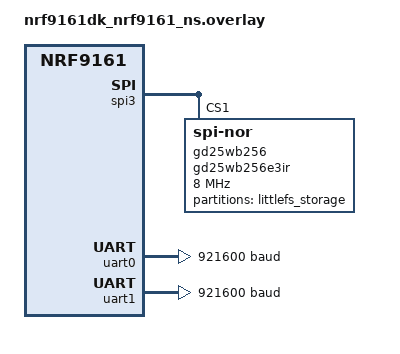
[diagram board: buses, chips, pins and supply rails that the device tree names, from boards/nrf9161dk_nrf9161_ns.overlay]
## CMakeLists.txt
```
#
# Copyright (c) 2020 Nordic Semiconductor
#
# SPDX-License-Identifier: LicenseRef-Nordic-5-Clause
#

cmake_minimum_required(VERSION 3.13.1)

find_package(Zephyr REQUIRED HINTS $ENV{ZEPHYR_BASE})

project(otdoa)

target_compile_options(app PRIVATE -flto -fdata-sections -ffunction-sections)
target_link_options(app PRIVATE --gc-sections)

# Prep the TLS certificate for including
zephyr_include_directories(${CMAKE_CURRENT_BINARY_DIR})
generate_inc_file_for_target(
  app
  cert/hellaphy.pem
  ${CMAKE_CURRENT_BINARY_DIR}/hellaphy.pem.inc
)

target_sources(app PRIVATE src/main.c)
target_sources(app PRIVATE src/otdoa_sample_app.c)
target_sources(app PRIVATE src/otdoa_gpio.c)

target_include_directories(app PRIVATE ./include)

target_link_libraries(app PUBLIC m)

# GCC 11 by default emits DWARF version 5 which cannot be parsed by
# pyelftools. Can be removed once pyelftools supports v5.
add_link_options(-gdwarf-4)
```

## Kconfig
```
#
# Copyright (c) 2020 Nordic Semiconductor ASA
#
# SPDX-License-Identifier: LicenseRef-Nordic-5-Clause
#

menu "OTDOA Sample Application config"

config PERIODIC_EST_INTERVAL
	int "Interval in minutes for periodic OTDOA estimates,  0 to disable."
	default 0

endmenu # OTDOA Sample Application

menu "Zephyr Kernel"
source "Kconfig.zephyr"
endmenu
```

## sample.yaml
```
sample:
  name: otdoa Sample
tests:
  sample.cellular.otdoa:
    sysbuild: true
    build_only: true
    integration_platforms:
      - nrf9151dk/nrf9151/ns
      - nrf9161dk/nrf9161/ns
      - thingy91x/nrf9151/ns
    platform_allow:
      - nrf9151dk/nrf9151/ns
      - nrf9161dk/nrf9161/ns
      - thingy91x/nrf9151/ns
    tags: ci_build sysbuild ci_samples_cellular
```

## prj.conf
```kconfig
CONFIG_NRF_MODEM_LIB=y

# Modem info
CONFIG_MODEM_INFO=y
CONFIG_MODEM_INFO_ADD_DATE_TIME=y

CONFIG_NETWORKING=y
CONFIG_NET_SOCKETS=y
CONFIG_NET_NATIVE=n
CONFIG_POSIX_API=y

# LTE link control (for OTDOA sample application)
CONFIG_LTE_LINK_CONTROL=y


CONFIG_MAIN_STACK_SIZE=2048
CONFIG_SHELL_STACK_SIZE=2048

CONFIG_HEAP_MEM_POOL_SIZE=2048

CONFIG_MODEM_KEY_MGMT=y

# Added after update to ncs/nrf folder in 10 May 2021 release from Nordic
CONFIG_FPU=y
CONFIG_FPU_SHARING=y

# floating point prints:
CONFIG_NEWLIB_LIBC_FLOAT_PRINTF=y
CONFIG_NEWLIB_LIBC_FLOAT_SCANF=y

# Serial Port
CONFIG_NRFX_UARTE0=y
CONFIG_NRFX_UARTE1=n
CONFIG_NRFX_UARTE2=n
CONFIG_NRFX_UARTE3=n

CONFIG_UART_INTERRUPT_DRIVEN=y
CONFIG_UART_LINE_CTRL=y
CONFIG_UART_0_NRF_TX_BUFFER_SIZE=256

# add for math libraries
CONFIG_NEWLIB_LIBC=y

# Add the Zephyr shell
CONFIG_PRINTK=y
CONFIG_SHELL=y
CONFIG_INIT_STACKS=y
CONFIG_THREAD_STACK_INFO=y
CONFIG_KERNEL_SHELL=y
CONFIG_THREAD_MONITOR=y
CONFIG_BOOT_BANNER=n
CONFIG_THREAD_NAME=y
CONFIG_DEVICE_SHELL=y
CONFIG_DATE_SHELL=y
CONFIG_THREAD_RUNTIME_STATS=y
CONFIG_SHELL_PROMPT_UART="otdoa:~$ "
CONFIG_AT_SHELL=y
CONFIG_FILE_SYSTEM_SHELL=y
# disable wildcards in the shell so commands like AT+CFUN? will not interpret the ? as a wildcard
CONFIG_SHELL_WILDCARD=n
# the default of 64 isn't enough for an EC key
CONFIG_SHELL_BACKEND_SERIAL_RX_RING_BUFFER_SIZE=128

#--------------------------------------------------
# for Nordic integration
# reduce SHMEM size to save memory.  Based on experimental values: CONFIG_NRF_MODEM_LIB_SHMEM_RX_SIZE=16384
CONFIG_NRF_MODEM_LIB_SHMEM_RX_SIZE=6144

# debugging
CONFIG_ASSERT=y
CONFIG_ASSERT_VERBOSE=y

CONFIG_RESET_ON_FATAL_ERROR=n
CONFIG_EXTRA_EXCEPTION_INFO=y
CONFIG_SYSTEM_WORKQUEUE_STACK_SIZE=2048


CONFIG_GPIO=y
CONFIG_SERIAL=y
CONFIG_ARM_MPU=y
CONFIG_ARM_TRUSTZONE_M=y
CONFIG_TRUSTED_EXECUTION_NONSECURE=y
CONFIG_HW_STACK_PROTECTION=y
CONFIG_CONSOLE=y
CONFIG_UART_CONSOLE=y

CONFIG_FLASH=y
CONFIG_FLASH_MAP=y
CONFIG_FLASH_PAGE_LAYOUT=y
CONFIG_FILE_SYSTEM=y
CONFIG_FILE_SYSTEM_LITTLEFS=y
CONFIG_PM_PARTITION_SIZE_LITTLEFS=0x10000

# ncs v2.8.0 experiment
CONFIG_SPI=y
CONFIG_SPI_NOR=y
CONFIG_SPI_NOR_FLASH_LAYOUT_PAGE_SIZE=4096

# Logging
CONFIG_LOG=y
CONFIG_LOG_MODE_DEFERRED=y
CONFIG_LOG_RUNTIME_FILTERING=y
CONFIG_LOG_BUFFER_SIZE=8192
CONFIG_LOG_PRINTK=y
# 64b timestamps to allow longer uptime logs without wrapping
CONFIG_LOG_TIMESTAMP_64BIT=y

# Log thread configuration
CONFIG_LOG_PROCESS_THREAD=y
CONFIG_LOG_PROCESS_THREAD_SLEEP_MS=100
CONFIG_LOG_PROCESS_THREAD_STACK_SIZE=1536

# Disable logging of FS errors, since the FS library
# logs an error if a file does not exist.
CONFIG_FS_LOG_LEVEL_OFF=y

# turn off VT100 colors on the console
CONFIG_SHELL_VT100_COLORS=n


# crypto / security
# Enable nordic security backend and PSA APIs
CONFIG_NRF_SECURITY=y
CONFIG_MBEDTLS_PSA_CRYPTO_C=y

# Enable TF-M for SDK v2.2.0 support with parition sizes
# set to smallest possible
CONFIG_BUILD_WITH_TFM=y
CONFIG_TFM_PROFILE_TYPE_SMALL=y
CONFIG_PM_PARTITION_SIZE_TFM=0x10000
CONFIG_PM_PARTITION_SIZE_TFM_SRAM=0x08000

# disable some TFM partitions so save memory.
# Reduces to 64KB FLASH / 32KB RAM
CONFIG_TFM_PARTITION_INITIAL_ATTESTATION=n
CONFIG_TFM_PARTITION_PLATFORM=y
CONFIG_TFM_PARTITION_PROTECTED_STORAGE=n
CONFIG_TFM_PARTITION_INTERNAL_TRUSTED_STORAGE=y

CONFIG_PSA_WANT_ALG_ECDSA=y
CONFIG_PSA_WANT_KEY_TYPE_ECC_KEY_PAIR_GENERATE=y
CONFIG_PSA_WANT_KEY_TYPE_ECC_KEY_PAIR_IMPORT=y
CONFIG_PSA_WANT_KEY_TYPE_ECC_KEY_PAIR_EXPORT=y
CONFIG_PSA_WANT_ALG_SHA_256=y

CONFIG_PSA_WANT_ALG_ECDH=y
CONFIG_PSA_WANT_ECC_SECP_R1_256=y
CONFIG_PSA_WANT_KEY_TYPE_AES=y
CONFIG_PSA_WANT_ALG_CTR=y

# disable TFM usage of UART1 since it may interfere with icapture.
# for TFM debug, re-enable this option.
CONFIG_TFM_LOG_LEVEL_SILENCE=y

# For key generation
CONFIG_PSA_WANT_GENERATE_RANDOM=y
CONFIG_BASE64=y

# for buttons & LEDs
CONFIG_DK_LIBRARY=y

# Fix for ext. FLASH per Sigurd suggestion
# at https://devzone.nordicsemi.com/f/nordic-q-a/118765/little-fs-on-external-flash-with-nrf9161dk-and-ncs-2-8-0
CONFIG_PM_OVERRIDE_EXTERNAL_DRIVER_CHECK=y

# Enable automatic request of PSM mode on attach.
# this is recommended to reduce power consumption during idle times.
CONFIG_LTE_LC_PSM_MODULE=y
CONFIG_LTE_PSM_REQ=y

# OTDOA Library
CONFIG_OTDOA_AL_LIB=y
CONFIG_OTDOA_LIB_TYPE_PROD=y
CONFIG_OTDOA_SHELL_COMMANDS=y

# OTDOA Sample Application
CONFIG_PERIODIC_EST_INTERVAL=0
```

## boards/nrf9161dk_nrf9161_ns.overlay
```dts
/*  This overlay file supports v0.9.X of the nrf9161dk board
 *  and hopefully beyond.  V0.9.X uses the gd25wb256 SPI FLASH
 *  instead of the gd25lb256 used on v0.7.X
 *
 *  Notes:
 *  1. 9161DK v0.9.x uses gd25wb256 with jedec-id = [c8 65 19]
 *  2. It should be possible to remove the &spi3 below
 *     when Zephyr is upgraded to v.3.x (nrf SDK v2.5.x).
 */

&spi3 {

	gd25wb256: gd25wb256e3ir@1 {
		compatible = "jedec,spi-nor";
		status = "disabled";
		reg = <1>;
		spi-max-frequency = <8000000>;
		size = <268435456>;
		has-dpd;
		t-enter-dpd = <3000>;
		t-exit-dpd = <40000>;
		sfdp-bfp = [
			e5 20 f3 ff  ff ff ff 0f  44 eb 08 6b  08 3b 42 bb
			ee ff ff ff  ff ff 00 ff  ff ff 00 ff  0c 20 0f 52
			10 d8 00 ff  44 7a c9 fe  83 67 26 62  ec 82 18 44
			7a 75 7a 75  04 c4 d5 5c  00 06 74 00  08 50 00 01
			];
		jedec-id = [c8 65 19];
	};
};


&gd25wb256 {
	status = "okay";
	partitions {
		compatible = "fixed-partitions";
		#address-cells = <1>;
		#size-cells = <1>;

		lfs_part1: partition@0 {
			label = "littlefs_storage";
			reg = <0x00000000 0x1e84800>;
		};
	};
};

/* Add uart aliases for v2.2.0 of nRF SDK  */
/ {
	aliases {
		uart0 = &uart0;
		uart1 = &uart1;
		spi-flash0 = &gd25wb256;
	};
	chosen {
		nordic,pm-ext-flash = &gd25wb256;
	};
};

&uart0 {
	status = "okay";
	current-speed = <921600>;
};

&uart1 {
	status = "okay";
	current-speed = <921600>;
	hw-flow-control;
};
```

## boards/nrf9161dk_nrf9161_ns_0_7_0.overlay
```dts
/*  This overlay file supports v0.97X of the nrf9161dk board
 *  V0.7.X uses the gd25lb256 SPI FLASH
 *  instead of the gd25wb256 used on v0.9.X
 *
 *  Notes:
 *  1. 9161DK v0.7.X uses gd25lb256 with jedec-id = [c8 67 19]
 *  2. It should be possible to remove the &spi3 below
 *     when Zephyr is upgraded to v.3.x (nrf SDK v2.5.x).
 */

/* Add for 9161DK v0.7.x */
&spi3 {
	gd25lb256: gd25lb256e3ir@1 {
		compatible = "jedec,spi-nor";
		status = "disabled";
		reg = <1>;
		spi-max-frequency = <60000000>;
		jedec-id = [c8 67 19];
		sfdp-bfp = [
			e5 20 ea ff  ff ff ff 0f  44 eb 08 6b  00 3b 00 bb
			fe ff ff ff  ff ff 00 ff  ff ff 44 eb  0c 20 0f 52
			10 d8 00 ff  d5 31 b1 fe  82 e4 14 4c  ec 60 06 33
			7a 75 7a 75  04 bd d5 5c  29 06 74 00  08 50 00 01
		];
		size = <268435456>;
		has-dpd;
		t-enter-dpd = <3000>;
		t-exit-dpd = <30000>;
	};
};

/* Explicitly disable serial FLASH from nrf9161dk_nrf9161.overlay file */
&gd25wb256 {
	status = "disabled";
};

&gd25lb256 {
	status = "okay";
	partitions {
		compatible = "fixed-partitions";
		#address-cells = <1>;
		#size-cells = <1>;

		external_flash_storage: partition@0 {
			label = "external-storage";
			reg = <0x00000000 0x1e84800>;
		};
	};
};

/* Add uart aliases for v2.2.0 of nRF SDK  */
/ {
	aliases {
		uart0 = &uart0;
		uart1 = &uart1;
	};
	chosen {
		nordic,pm-ext-flash = &gd25lb256;
	};
};

&uart0 {
	status = "okay";
	current-speed = <921600>;
};

&uart1 {
	status = "okay";
	current-speed = <921600>;
	hw-flow-control;
};
```

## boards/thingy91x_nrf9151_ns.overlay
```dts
/*
 * Thingy91X board DTS Overlay
 */

/* set console UART to 921600 baud */
&uart0 {
	status = "okay";
	current-speed = <921600>;
};
```

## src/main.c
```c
/*
 * Copyright (c) 2025 PHY Wireless, Inc.
 *
 * SPDX-License-Identifier: LicenseRef-PHYW
 */

#include <zephyr/kernel.h>
#include <zephyr/logging/log.h>
#include <otdoa_al/otdoa_little_fs.h>

#include "otdoa_gpio.h"
#include "otdoa_sample_app.h"

LOG_MODULE_REGISTER(otdoa_sample, LOG_LEVEL_DBG);

int main(void)
{
	LOG_INF("OTDOA Sample Application started");

	LOG_DBG("Mounting littleFS");
	if (0 == mount_little_fs()) {
#ifdef FS_TESTS
		test_little_fs();
#endif
	}

	init_button();
	set_blink_mode(MED);

	return otdoa_sample_main();
}
```

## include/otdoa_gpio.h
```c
/*
 * Copyright (c) 2025 PHY Wireless, Inc.
 *
 * SPDX-License-Identifier: LicenseRef-PHYW
 */

#ifndef OTDOA_GPIO_H__
#define OTDOA_GPIO_H__
/* blink speeds */
typedef enum {
	NONE,
	SLOW,
	MED,
	FAST,
	FLASH,
} BLINK_SPEED;

int init_led(void);
int init_button(void);
int set_led(int state);
int toggle_led(void);
void set_blink_mode(BLINK_SPEED speed);
void set_blink_sleep(void);
void set_blink_prs(void);
void set_blink_download(void);
void set_blink_error(void);

#endif /* OTDOA_GPIO_H__ */
```

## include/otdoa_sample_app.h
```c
/*
 * Copyright (c) 2025 PHY Wireless, Inc.
 *
 * SPDX-License-Identifier: LicenseRef-PHYW
 */

 #include <stdint.h>

int otdoa_sample_main(void);

/* Default timeout for OTDOA in milliseconds */
#define OTDOA_SAMPLE_DEFAULT_TIMEOUT_MS (2 * 60 * 1000)

/* API functions called from the shell */
void otdoa_sample_start(uint32_t session_length, uint32_t capture_flags, uint32_t timeout_msec);
void otdoa_sample_cancel(void);
void otdoa_sample_ubsa_dl_test(uint32_t ecgi, uint32_t dlearfcn,
	uint32_t radius, uint32_t max_cells, uint16_t mcc, uint16_t mnc);
```

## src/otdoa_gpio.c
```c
/*
 * Copyright (c) 2025 PHY Wireless, Inc.
 *
 * SPDX-License-Identifier: LicenseRef-PHYW
 */

#include <zephyr/kernel.h>
#include <zephyr/logging/log.h>
#include <dk_buttons_and_leds.h>

#include "otdoa_sample_app.h"
#include "otdoa_gpio.h"

#define OTDOA_LED    DK_LED1 /* Red LED on thingy91X, green LED1 on 9161dk */
#define OTDOA_BUTTON DK_BTN1

static bool led_is_init;
static volatile bool led_state;
static volatile BLINK_SPEED led_mode = NONE;
struct k_timer led_timer;

/* forward reference */
static void button_cb(uint32_t button_state, uint32_t has_changed);

LOG_MODULE_DECLARE(otdoa_sample, LOG_LEVEL_INF);

static void led_timer_cb(struct k_timer *timer)
{
	toggle_led();

	if (led_mode == FLASH) {
		/* need to manually trigger the next shot, due to different timing */
		k_timer_start(timer, led_state ? K_MSEC(100) : K_MSEC(5000), K_NO_WAIT);
	}
}

int init_led(void)
{

	if (led_is_init) {
		return 0;
	}

	/* Use library button & LED functions */
	dk_leds_init();

	k_timer_init(&led_timer, led_timer_cb, NULL);

	led_is_init = true;

	return 0;
}

int set_led(int state)
{
	led_state = state;
	return dk_set_led(OTDOA_LED, led_state);
}

int toggle_led(void)
{
	led_state = !led_state;
	return dk_set_led(OTDOA_LED, led_state);
}

void set_blink_mode(BLINK_SPEED speed)
{
	if (!led_is_init) {
		if (init_led()) {
			LOG_ERR("Failed to initialize LED!");
			return;
		}
	}
	led_mode = speed;
	LOG_DBG("Setting blink mode to %d", speed);
	switch (speed) {
	case SLOW:
		k_timer_start(&led_timer, K_MSEC(2000), K_MSEC(2000));
		break;
	case FLASH:
		/* this is a oneshot timer because the delay needs to change */
		k_timer_start(&led_timer, led_state ? K_MSEC(100) : K_MSEC(5000), K_NO_WAIT);
		break;
	case FAST:
		k_timer_start(&led_timer, K_MSEC(250), K_MSEC(250));
		break;
	case MED:
		k_timer_start(&led_timer, K_MSEC(500), K_MSEC(500));
		break;
	case NONE:
		set_led(false);
		k_timer_stop(&led_timer);
		break;
	default:
		printk("Unknown LED blink mode %d\n", led_mode);
		break;
	}
}

void set_blink_sleep(void)
{
	set_blink_mode(FLASH);
}

void set_blink_prs(void)
{
	set_blink_mode(FAST);
}

void set_blink_download(void)
{
	set_blink_mode(MED);
}

void set_blink_error(void)
{
	set_blink_mode(SLOW);
}

/*
 *  Buttons
 */
static void button_cb(uint32_t button_state, uint32_t has_changed)
{
	uint32_t button_mask = BIT(OTDOA_BUTTON);

	if (has_changed & button_mask) {
		if (button_state & button_mask) {
			LOG_INF("Button high");
		} else {
			LOG_INF("Button low");
			/* start a test for 32 PRS occasions.  Timeout = 120 seconds */
			otdoa_sample_start(32, 0, OTDOA_SAMPLE_DEFAULT_TIMEOUT_MS);
		}
	}
}

int init_button(void)
{
	dk_buttons_init(button_cb);
	return 0;
}
```

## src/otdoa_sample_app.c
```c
/*
 * Copyright (c) 2025 PHY Wireless, Inc.
 *
 * SPDX-License-Identifier: LicenseRef-PHYW
 */

#include <string.h>
#include <zephyr/kernel.h>
#include <zephyr/logging/log.h>
#include <nrf_modem_at.h>
#include <modem/lte_lc.h>
#include <modem/nrf_modem_lib.h>
#include <otdoa_al/otdoa_api.h>
#include <otdoa_al/otdoa_otdoa2al_api.h>
#include "otdoa_gpio.h"
#include "otdoa_sample_app.h"

#define UBSA_FILE_PATH "/lfs/ubsa.csv"

LOG_MODULE_DECLARE(otdoa_sample, LOG_LEVEL_INF);

static K_SEM_DEFINE(lte_connected, 0, 1);

/* Timer for periodic position estimates */
struct k_timer pos_est_timer;
#define POS_EST_TIMER_DURATION K_MSEC(CONFIG_PERIODIC_EST_INTERVAL * 60 * 1000)

/* Flag to distinguish between DL requests initiated during an OTDOA
 * session, and those that are not part of a session (e.g. those for testing uBDA DL)
 */
static int dl_in_session;

static const char cert[] = {
#include "hellaphy.pem.inc"
};
BUILD_ASSERT(sizeof(cert) < KB(4), "Certificate too large");

/* forward references */
static void otdoa_event_handler(const otdoa_api_event_data_t *p_event_data);
static void pos_est_timer_cb(struct k_timer *timer);
static void pos_est_timer_restart(void);
void otdoa_sample_start(uint32_t session_length, uint32_t capture_flags, uint32_t timeout_msec);

static void lte_event_handler(const struct lte_lc_evt *const evt)
{
	if (evt->type == LTE_LC_EVT_NW_REG_STATUS) {
		if ((evt->nw_reg_status == LTE_LC_NW_REG_REGISTERED_HOME) ||
			(evt->nw_reg_status == LTE_LC_NW_REG_REGISTERED_ROAMING)) {
			printk("Connected to LTE");
			k_sem_give(&lte_connected);
		}
	}
}

int otdoa_sample_main(void)
{
	LOG_INF("OTDOA sample started");

	int err = nrf_modem_lib_init();

	if (err) {
		LOG_ERR("Modem library initialization failed, error: %d", err);
		return err;
	}
	LOG_INF("Modem version = %s", nrf_modem_build_version());

	otdoa_api_cfg_set_file_path("/lfs/config");

	/* Don't include null terminator in PEM file length */
	err = otdoa_api_install_tls_cert(cert, sizeof(cert) - 1);
	if (err != 0) {
		LOG_ERR("otdoa_api_install_tls_cert() failed with return %d", err);
		return err;
	}

	/* AL and OTDOA library can use the same callback */
	err = otdoa_api_init(UBSA_FILE_PATH, otdoa_event_handler);
	if (err != 0) {
		LOG_ERR("otdoa_api_init() failed with return %d", err);
		return err;
	}

	LOG_INF("Connecting to LTE...");

	lte_lc_register_handler(lte_event_handler);

	lte_lc_connect();

	k_timer_init(&pos_est_timer, pos_est_timer_cb, NULL);

	k_sem_take(&lte_connected, K_FOREVER);

	LOG_INF("Connected!");

	set_blink_sleep();

	/* Optionally enable periodic estimates */
	pos_est_timer_restart();

	return 0;
}

static void display_result_details(const otdoa_api_result_details_t *p_details)
{
	if (!p_details) {
		return;
	}

	LOG_INF("  serv. ecgi: %u", p_details->serving_cell_ecgi);
	LOG_INF("  rssi: %d", p_details->serving_rssi_dbm);
	LOG_INF("  dlearfcn: %u", p_details->dlearfcn);
	LOG_INF("  length: %u", p_details->session_length);

	LOG_INF("  est. algorithm: %s", p_details->estimate_algorithm);
	LOG_INF("  measured cells: %u", p_details->num_measured_cells);

	LOG_INF("  Detected Cells:");
	for (unsigned int u = 0; u < p_details->num_measured_cells; u++) {
		if (p_details->toa_detect_count[u] > 0) {
			LOG_INF("    ecgi: %u  detects: %u", p_details->ecgi_list[u],
				p_details->toa_detect_count[u]);
		}
	}
}

static void otdoa_event_handler(const otdoa_api_event_data_t *p_event_data)
{
	switch (p_event_data->event) {
	case OTDOA_EVENT_RESULTS: {
		LOG_INF("OTDOA_EVENT_RESULTS:");
		LOG_INF("  latitude: %.06f", p_event_data->results.latitude);
		LOG_INF("  longitude: %.06f", p_event_data->results.longitude);
		LOG_INF("  accuracy: %.01f m", (double)(p_event_data->results.accuracy));
		display_result_details(&p_event_data->results.details);
		LOG_INF("OTDOA position estimate SUCCESS");
		set_blink_sleep();
		pos_est_timer_restart();
		break;
	}

	case OTDOA_EVENT_FAIL: {
		LOG_ERR("OTDOA_EVENT_FAIL:  failure code = %d", p_event_data->failure_code);
		set_blink_error();
		pos_est_timer_restart();
		break;
	}

	case OTDOA_EVENT_UBSA_DL_REQ: {
		/* OTDOA Library requests download of a new uBSA file */
		dl_in_session = 1;
		set_blink_download();
		/* Call the API to start the DL */
		LOG_INF("OTDOA_EVENT_UBSA_DL_REQ:");
		LOG_INF("  ecgi: %u  dlearfcn: %u", p_event_data->dl_request.ecgi,
			p_event_data->dl_request.dlearfcn);
		LOG_INF("  max cells: %u  radius: %u", p_event_data->dl_request.max_cells,
			p_event_data->dl_request.ubsa_radius_meters);

		int err = otdoa_api_ubsa_download(&p_event_data->dl_request, false);

		if (err != OTDOA_API_SUCCESS) {
			LOG_ERR("otdoa_api_ubsa_download() failed with return %d", err);
			err = otdoa_api_cancel_session();
			if (err != OTDOA_API_SUCCESS) {
				LOG_ERR("otdoa_api_cancel_session() failed with return %d", err);
			}
			set_blink_error();
		}
		pos_est_timer_restart();
		break;
	}

	case OTDOA_EVENT_UBSA_DL_COMPL: {
		LOG_INF("OTDOA_EVENT_UBSA_DL_COMPL:");
		LOG_INF("  status: %d", p_event_data->dl_compl.status);

		/* If DL request was done as part of a session, indicate to the OTDOA library
		 * that the updated uBSA file is now available.
		 */
		if (dl_in_session) {
			dl_in_session = 0;
			set_blink_prs();
			int err = otdoa_api_ubsa_available(p_event_data->dl_compl.status);

			if (err != OTDOA_API_SUCCESS) {
				LOG_ERR("otdoa_api_ubsa_available() failed with return %d", err);
				err = otdoa_api_cancel_session();
				if (err != OTDOA_API_SUCCESS) {
					LOG_ERR("otdoa_api_cancel_session() failed with return %d",
						err);
				}
			}
		} else {
			/* DL request was not part of a session, so just handle the result */
			if (p_event_data->dl_compl.status == OTDOA_API_SUCCESS) {
				set_blink_sleep();
				LOG_INF("OTDOA uBSA DL SUCCESS");
			} else {
				LOG_ERR("OTDOA uBSA DL FAILED");
				set_blink_error();
			}
			pos_est_timer_restart();
		}
		break;
	}

	default: {
		LOG_INF("Unhandle event %d in otdoa_event_handler()", p_event_data->event);
		break;
	}
	}
}

/* callback for periodic position estimates timer */
static void pos_est_timer_cb(struct k_timer *timer)
{
	uint32_t timeout_msec = OTDOA_SAMPLE_DEFAULT_TIMEOUT_MS;

	otdoa_sample_start(32, 0, timeout_msec);
}

static void pos_est_timer_restart(void)
{
#if CONFIG_PERIODIC_EST_INTERVAL > 0
	k_timer_start(&pos_est_timer, POS_EST_TIMER_DURATION, K_NO_WAIT);
#endif
}

static void pos_est_timer_stop(void)
{
	k_timer_stop(&pos_est_timer);
}

/*
 * API functions called from shell
 */
void otdoa_sample_start(uint32_t session_length, uint32_t capture_flags, uint32_t timeout_msec)
{
	otdoa_api_session_params_t params = {0};

	params.session_length = session_length;
	params.capture_flags = capture_flags;
	params.timeout = timeout_msec;

	dl_in_session = 0;

	int err = otdoa_api_start_session(&params);

	if (err != OTDOA_API_SUCCESS) {
		set_blink_error();
		LOG_ERR("otdoa_api_start_session() failed with return %d", err);
	} else {
		set_blink_prs();
		pos_est_timer_stop();
	}
}

void otdoa_sample_cancel(void)
{
	int err = otdoa_api_cancel_session();

	if (err != OTDOA_API_SUCCESS) {
		LOG_ERR("otdoa_api_cancel_session() failed with return %d", err);
	}
	set_blink_sleep();
	pos_est_timer_stop();
}

void otdoa_sample_ubsa_dl_test(uint32_t ecgi, uint32_t dlearfcn, uint32_t radius,
			       uint32_t max_cells, uint16_t mcc, uint16_t mnc)
{
	otdoa_api_ubsa_dl_req_t dl_req = {0};

	dl_req.ecgi = ecgi;
	dl_req.dlearfcn = dlearfcn;
	dl_req.ubsa_radius_meters = radius;
	dl_req.max_cells = max_cells;
	dl_req.mcc = mcc;
	dl_req.mnc = mnc;
	set_blink_download();
	LOG_INF("Getting uBSA (ECGI: %u (0x%08x) DLEARFCN: %u  Radius: %u  Num Cells: %u)", ecgi,
		ecgi, dlearfcn, radius, max_cells);

	int err = otdoa_api_ubsa_download(&dl_req, true);

	if (err != OTDOA_API_SUCCESS) {
		LOG_ERR("otdoa_api_ubsa_download() failed with return %d", err);
		set_blink_error();
	} else {
		set_blink_download();
	}
	pos_est_timer_stop();
}
```
